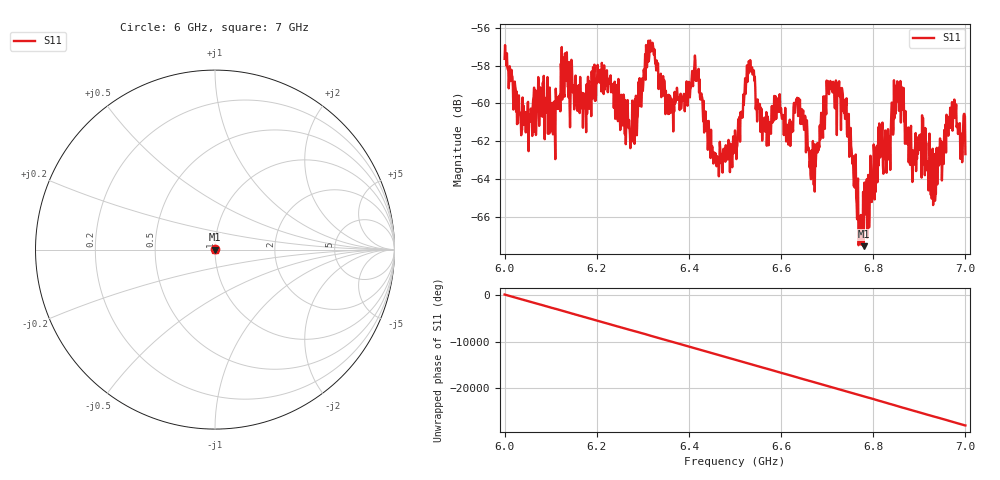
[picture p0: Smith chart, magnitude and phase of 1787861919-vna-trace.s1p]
! Created with skrf 1.10.0 (http://scikit-rf.org).
# Hz S RI R 50.0
!freq ReS11 ImS11
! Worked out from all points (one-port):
!   1001 points, 6 GHz to 7 GHz, reference 50 ohm
!   lowest |S11| = -67.6 dB at 6.779 GHz (marker M1), VSWR 1.00, Z = 50 - j0.0408 ohm
!   |S11| at or under -10 dB: start of sweep to end of sweep
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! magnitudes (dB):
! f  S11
! 6 GHz  -57.6
! 6.041 GHz  -60.1
! 6.105 GHz  -61.6
! 6.125 GHz  -59.8
! 6.25 GHz  -60.7
! 6.277 GHz  -59.9
! 6.32 GHz  -57.2
! 6.353 GHz  -60.3
! 6.375 GHz  -59.5
! 6.416 GHz  -58.3
! 6.457 GHz  -62.8
! 6.5 GHz  -61.4
! 6.533 GHz  -57.7
! 6.564 GHz  -60.8
! 6.625 GHz  -61.2
! 6.636 GHz  -59.9
! 6.669 GHz  -62.0
! 6.71 GHz  -59.3
! 6.75 GHz  -62.3
! 6.769 GHz  -67.4
! 6.779 GHz  -67.6
! 6.815 GHz  -62.9
! 6.833 GHz  -62.0
! 6.85 GHz  -59.1
! 6.875 GHz  -62.2
! 6.93 GHz  -65.4
! 6.975 GHz  -60.6
! 7 GHz  -62.7
